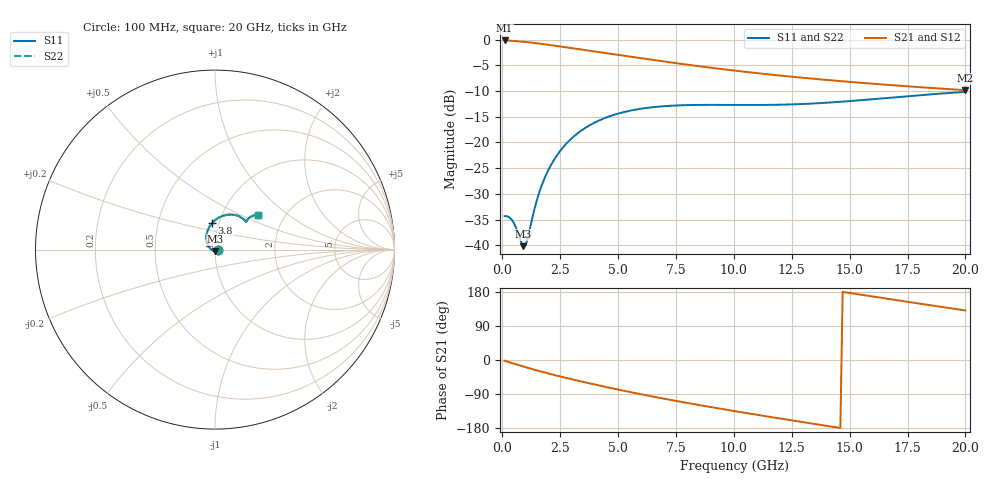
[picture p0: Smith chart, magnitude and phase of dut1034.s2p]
! Touchstone file exported from HFSS 2024.1.0
!  File:  C:/UserFiles/LocalFiles/RDL_TSV_Batchsim/temp_RDL_TSV_1034_1780084492.aedt
!  Generated:  04:06:05 AM May 30, 2026
!  Design:  RDL_TSV
!  Project:  temp_RDL_TSV_1034_1780084492
!  Setup:  Setup1
!  Solution:  Sweep
! Variables:
!  dtsv = 12.77um
!  hbump = 3um
!  htsv = 76.58um
!  ldown = 197.15um
!  lrdl = 651.7um
!  p = 40
!  p1 = 41.26um
!  rhole = 10um
!  subl = 3198.25um
!  t = 450um
!  tdown = 3.49um
!  trdl = 3.05um
!  viad = 10um
!  wdown = 11.68um
!  wrdl = 21.72um
!  xbump = 18um
# GHz S MA R 50.000000
! Terminal data exported
! Port[1] = TM1_1_T1
! Port[2] = TM1_4_T1
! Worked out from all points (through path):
!   200 points, 100 MHz to 20 GHz, reference 50 ohm
!   highest |S21| = -0.17 dB at 100 MHz (marker M1); lowest = -9.8 dB at 20 GHz (marker M2)
!   group delay of S21, straight-line fit = 30.3 ps
!   lowest |S11| = -40.2 dB at 900 MHz (marker M3), VSWR 1.02, Z = 50 - j0.978 ohm
!   |S11| at or under -10 dB: start of sweep to end of sweep
!   |S22| runs from -40.2 to -10.2 dB; largest |S21 - S12| = 1e-14
!   S11 on the Smith chart (normalised r, x): 100 MHz: 1.04, -0.00; 3.8 GHz: 0.93, +0.28; 20 GHz: 1.47, +0.64
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0.1  0.0192 -3.6  0.9802 -2.0  0.9802 -2.0  0.0192 -3.6
! Gamma 0 0 0 0
! Port Impedance 50 0 50 0
0.3  0.01872 -14.0  0.9761 -5.9  0.9761 -5.9  0.01872 -14.0
0.5  0.01644 -29.3  0.9699 -9.7  0.9699 -9.7  0.01642 -29.3
0.9  0.009789 -91.9  0.9531 -17.1  0.9531 -17.1  0.009756 -92.2
1  0.009924 -118.8  0.9481 -18.9  0.9481 -18.9  0.009913 -119.3
1.1  0.01166 -143.4  0.9429 -20.7  0.9429 -20.7  0.01168 -143.8
1.3  0.01855 -175.2  0.9317 -24.1  0.9317 -24.1  0.01863 -175.4
1.5  0.02773 167.1  0.9198 -27.5  0.9198 -27.5  0.02786 166.9
1.7  0.03801 155.2  0.9075 -30.9  0.9075 -30.9  0.03817 155.1
2  0.05445 142.0  0.8885 -35.7  0.8885 -35.7  0.05467 141.9
2.3  0.07134 131.6  0.8694 -40.4  0.8694 -40.4  0.07163 131.6
2.7  0.09362 120.2  0.8441 -46.4  0.8441 -46.4  0.09399 120.1
3.5  0.1345 102.1  0.7952 -58.0  0.7952 -58.0  0.135 102.1
3.8  0.148 96.5  0.7775 -62.1  0.7775 -62.1  0.1486 96.4
5.1  0.1932 76.7  0.7047 -79.3  0.7047 -79.3  0.194 76.6
6.8  0.2232 59.2  0.6204 -100.0  0.6204 -100.0  0.2243 59.1
8.4  0.2314 49.1  0.554 -117.8  0.554 -117.8  0.2327 49.0
10.1  0.2313 43.7  0.4969 -135.6  0.4969 -135.6  0.2326 43.5
11.7  0.2319 42.1  0.4537 -151.5  0.4537 -151.5  0.2331 41.9
13.4  0.2388 42.5  0.4165 -168.0  0.4165 -168.0  0.2398 42.1
16.7  0.2714 42.7  0.3618 161.0  0.3618 161.0  0.2716 42.3
20  0.3099 39.1  0.3219 130.7  0.3219 130.7  0.3092 38.8
